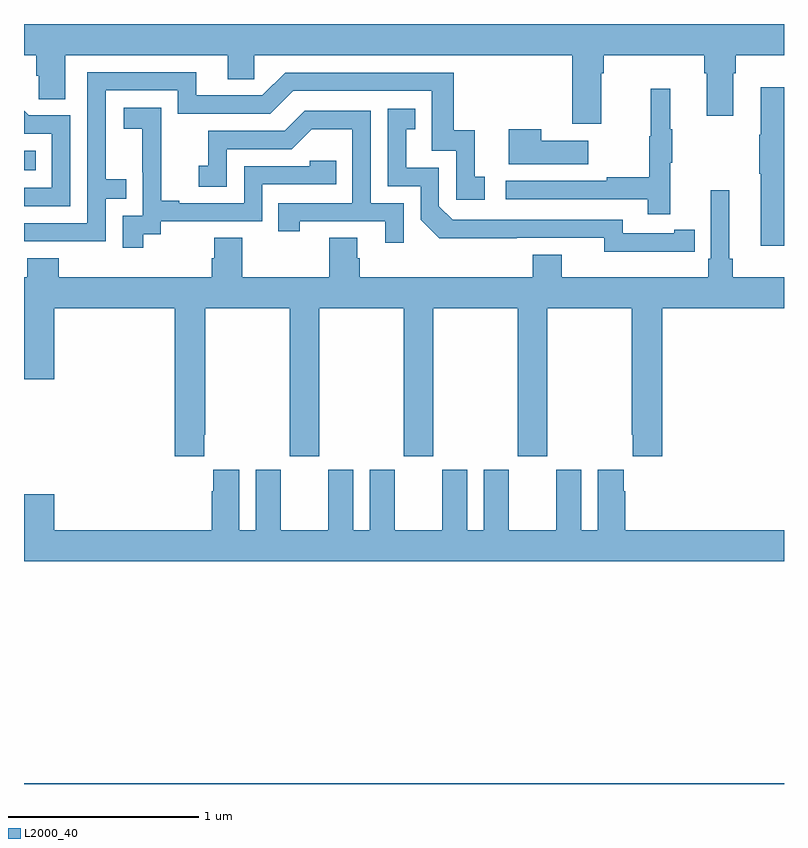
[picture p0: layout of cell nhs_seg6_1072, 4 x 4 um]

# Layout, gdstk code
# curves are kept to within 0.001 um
import gdstk
lib = gdstk.Library(unit=1e-6, precision=1e-09)
def R(c, l, rs):  # rectangles x0, y0, x1, y1
    for r in rs: c.add(gdstk.rectangle(r[:2], r[2:], *l))
def P(c, l, *ps):  # polygons
    for p in ps: c.add(gdstk.Polygon(p, *l))
L2000_40 = (2000, 40)

nhs_seg6_1072 = lib.new_cell('nhs_seg6_1072')
R(nhs_seg6_1072, L2000_40, [(177,943.5,181,943.504), (177,946.73,177.062,946.834)])
P(nhs_seg6_1072, L2000_40, [(180.037,947.24),(180.05,947.24),(180.05,947.336),(180.581,947.336),(180.581,947.24),(180.593,947.24),(180.593,947.016),(180.733,947.016),(180.733,947.24),(180.746,947.24),(180.746,947.336),(181,947.336),(181,947.5),(177,947.5),(177,947.336),(177.065,947.336),(177.065,947.227),(177.078,947.227),(177.078,947.104),(177.217,947.104),(177.217,947.336),(178.073,947.336),(178.073,947.209),(178.212,947.209),(178.212,947.336),(179.885,947.336),(179.885,946.974),(180.037,946.974)],
  [(177.429,946.581),(177.539,946.581),(177.539,946.682),(177.429,946.682),(177.429,947.151),(177.81,947.151),(177.81,947.028),(178.296,947.028),(178.416,947.148),(179.145,947.148),(179.145,946.833),(179.274,946.833),(179.274,946.575),(179.425,946.575),(179.425,946.695),(179.372,946.695),(179.372,946.942),(179.261,946.942),(179.261,947.244),(178.374,947.244),(178.254,947.124),(177.907,947.124),(177.907,947.247),(177.333,947.247),(177.333,946.452),(177,946.452),(177,946.356),(177.429,946.356)],
  [(181,947.167),(180.878,947.167),(180.878,946.917),(180.871,946.917),(180.871,946.711),(180.878,946.711),(180.878,946.332),(181,946.332)],
  [(180.401,946.771),(180.412,946.771),(180.412,946.945),(180.401,946.945),(180.401,947.158),(180.298,947.158),(180.298,946.908),(180.291,946.908),(180.291,946.694),(180.067,946.694),(180.067,946.674),(179.535,946.674),(179.535,946.578),(180.283,946.578),(180.283,946.5),(180.401,946.5)],
  [(177.628,946.393),(177.72,946.393),(177.72,946.461),(178.254,946.461),(178.254,946.656),(178.643,946.656),(178.643,946.779),(178.503,946.779),(178.503,946.752),(178.158,946.752),(178.158,946.557),(177.817,946.557),(177.817,946.57),(177.722,946.57),(177.722,946.853),(177.723,946.853),(177.723,947.059),(177.525,947.059),(177.525,946.949),(177.623,946.949),(177.623,946.721),(177.624,946.721),(177.624,946.491),(177.519,946.491),(177.519,946.323),(177.628,946.323)],
  [(180.422,946.302),(180.53,946.302),(180.53,946.418),(180.422,946.418),(180.422,946.398),(180.15,946.398),(180.15,946.47),(179.256,946.47),(179.184,946.542),(179.184,946.743),(179.011,946.743),(179.011,946.947),(179.06,946.947),(179.06,947.053),(178.914,947.053),(178.914,946.647),(179.088,946.647),(179.088,946.47),(179.186,946.373),(180.054,946.374),(180.054,946.301)],
  [(177.243,947.019),(177.024,947.019),(177,947.043),(177,946.923),(177.147,946.923),(177.147,946.638),(177,946.638),(177,946.542),(177.243,946.542)],
  [(178.998,946.557),(178.824,946.557),(178.824,947.043),(178.478,947.043),(178.373,946.938),(177.97,946.938),(177.97,946.753),(177.921,946.753),(177.921,946.644),(178.068,946.644),(178.068,946.842),(178.41,946.842),(178.514,946.946),(178.728,946.946),(178.728,946.557),(178.339,946.557),(178.339,946.41),(178.45,946.41),(178.45,946.461),(178.901,946.461),(178.901,946.35),(178.998,946.35)],
  [(179.971,946.885),(179.723,946.885),(179.723,946.945),(179.552,946.945),(179.552,946.763),(179.971,946.763)],
  [(178.766,946.266),(178.753,946.266),(178.753,946.376),(178.606,946.376),(178.606,946.168),(178.149,946.168),(178.149,946.376),(178.001,946.376),(178.001,946.266),(177.989,946.266),(177.989,946.168),(177.182,946.168),(177.182,946.267),(177.017,946.267),(177.017,946.168),(177,946.168),(177,945.63),(177.16,945.63),(177.16,946.004),(177.794,946.004),(177.794,945.225),(177.949,945.225),(177.949,945.337),(177.954,945.337),(177.954,946.004),(178.399,946.004),(178.399,945.225),(178.554,945.225),(178.554,946.004),(178.999,946.004),(178.999,945.225),(179.154,945.225),(179.154,946.004),(179.599,946.004),(179.599,945.225),(179.754,945.225),(179.754,946.004),(180.199,946.004),(180.199,945.337),(180.203,945.337),(180.203,945.225),(180.359,945.225),(180.359,946.004),(181,946.004),(181,946.168),(180.731,946.168),(180.731,946.264),(180.712,946.264),(180.712,946.624),(180.615,946.624),(180.615,946.264),(180.602,946.264),(180.602,946.168),(179.83,946.168),(179.83,946.285),(179.678,946.285),(179.678,946.168),(178.766,946.168)],
  [(181,944.836),(180.164,944.836),(180.164,945.041),(180.157,945.041),(180.157,945.154),(180.02,945.154),(180.02,944.836),(179.932,944.836),(179.932,945.154),(179.801,945.154),(179.801,944.836),(179.551,944.836),(179.551,945.154),(179.42,945.154),(179.42,944.836),(179.332,944.836),(179.332,945.154),(179.201,945.154),(179.201,944.836),(178.951,944.836),(178.951,945.154),(178.82,945.154),(178.82,944.836),(178.732,944.836),(178.732,945.154),(178.601,945.154),(178.601,944.836),(178.351,944.836),(178.351,945.154),(178.22,945.154),(178.22,944.836),(178.132,944.836),(178.132,945.154),(177.995,945.154),(177.995,945.041),(177.989,945.041),(177.989,944.836),(177.16,944.836),(177.16,945.025),(177,945.025),(177,944.672),(181,944.672)])

lib.write_gds('nhs_seg6_1072.gds')
